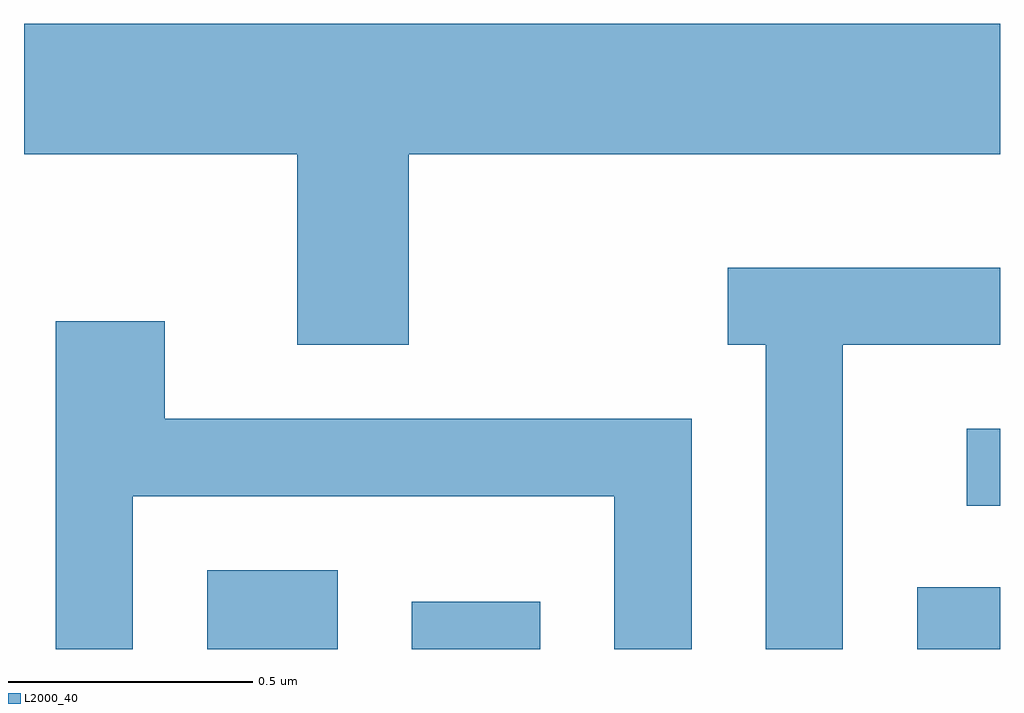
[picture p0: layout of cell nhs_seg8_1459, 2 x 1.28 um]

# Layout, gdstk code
import gdstk
lib = gdstk.Library(unit=1e-6, precision=1e-09)
def R(c, l, rs):  # rectangles x0, y0, x1, y1
    for r in rs: c.add(gdstk.rectangle(r[:2], r[2:], *l))
def P(c, l, *ps):  # polygons
    for p in ps: c.add(gdstk.Polygon(p, *l))
L2000_40 = (2000, 40)

nhs_seg8_1459 = lib.new_cell('nhs_seg8_1459')
R(nhs_seg8_1459, L2000_40, [(195.986,1895.342,196.254,1895.504), (196.406,1895.342,196.669,1895.439), (197.441,1895.342,197.611,1895.469), (197.543,1895.636,197.611,1895.794)])
P(nhs_seg8_1459, L2000_40, [(196.399,1896.356),(197.611,1896.356),(197.611,1896.624),(195.611,1896.624),(195.611,1896.356),(196.171,1896.356),(196.171,1895.966),(196.399,1895.966)],
  [(197.289,1895.966),(197.611,1895.966),(197.611,1896.124),(197.053,1896.124),(197.053,1895.966),(197.131,1895.966),(197.131,1895.342),(197.289,1895.342)],
  [(195.834,1895.656),(196.821,1895.656),(196.821,1895.342),(196.979,1895.342),(196.979,1895.814),(195.899,1895.814),(195.899,1896.014),(195.676,1896.014),(195.676,1895.342),(195.834,1895.342)])

lib.write_gds('nhs_seg8_1459.gds')
